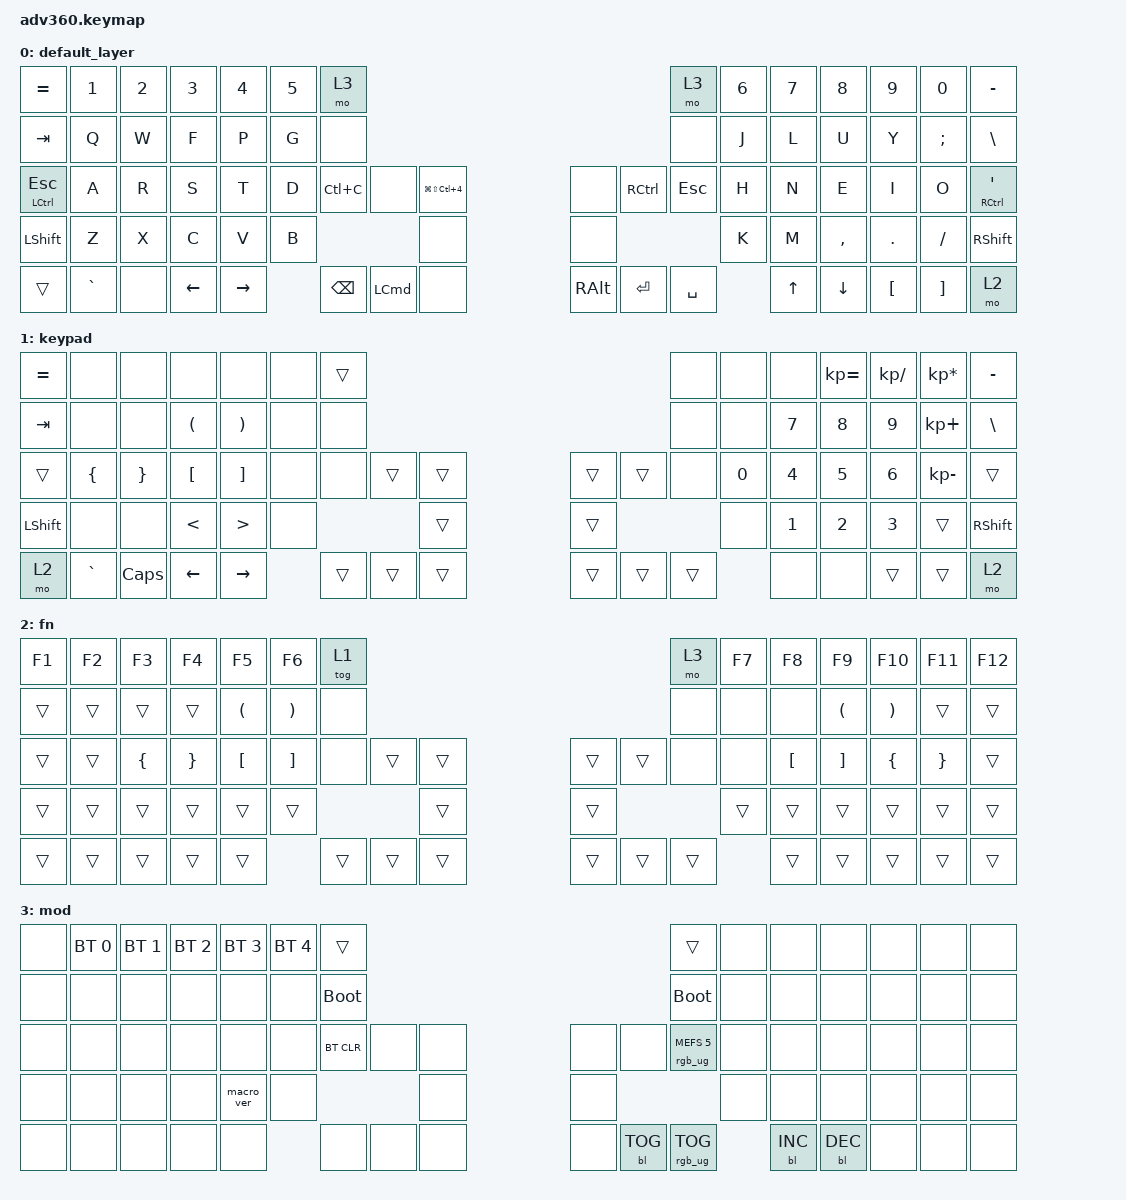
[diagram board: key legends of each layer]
#include <behaviors.dtsi>
#include <dt-bindings/zmk/backlight.h>
#include <dt-bindings/zmk/bt.h>
#include <dt-bindings/zmk/keys.h>
#include <dt-bindings/zmk/rgb.h>

/ {
    behaviors {
        #include "macros.dtsi"
      #include "version.dtsi"
      #ifndef VERSION_MACRO

        macro_ver: macro_ver {
            compatible = "zmk,behavior-macro";
            label = "macro_version";
            #binding-cells = <0>;
            bindings = <&kp RET>;
        };

        #endif

        hm: homerow_mods {
            compatible = "zmk,behavior-hold-tap";
            label = "HOMEROW_MODS";
            #binding-cells = <2>;
            tapping-term-ms = <200>;
            quick_tap_ms = <175>;
            flavor = "tap-preferred";
            bindings = <&kp>, <&kp>;
        };
    };

    macros {
    };

    keymap {
        compatible = "zmk,keymap";

        default_layer {
            bindings = <
&kp EQUAL                &kp N1     &kp N2  &kp N3    &kp N4     &kp N5  &mo 3                                                                                            &mo 3       &kp N6  &kp N7  &kp N8     &kp N9    &kp N0         &kp MINUS
&kp TAB                  &kp Q      &kp W   &kp F     &kp P      &kp G   &none                                                                                            &none       &kp J   &kp L   &kp U      &kp Y     &kp SEMICOLON  &kp BSLH
&mt LEFT_CONTROL ESCAPE  &kp A      &kp R   &kp S     &kp T      &kp D   &kp LC(C)      &none             &kp LG(LS(LC(NUMBER_4)))      &none          &kp RIGHT_CONTROL  &kp ESCAPE  &kp H   &kp N   &kp E      &kp I     &kp O          &mt RIGHT_CONTROL SQT
&kp LEFT_SHIFT           &kp Z      &kp X   &kp C     &kp V      &kp B                                    &none                         &none                                         &kp K   &kp M   &kp COMMA  &kp DOT   &kp FSLH       &kp RIGHT_SHIFT
&trans                   &kp GRAVE  &none   &kp LEFT  &kp RIGHT          &kp BACKSPACE  &kp LEFT_COMMAND  &none                         &kp RIGHT_ALT  &kp ENTER          &kp SPACE           &kp UP  &kp DOWN   &kp LBKT  &kp RBKT       &mo 2
            >;
        };

        keypad {
            bindings = <
&kp EQUAL  &none           &none            &none                 &none                  &none  &trans                                      &none   &none   &none   &kp KP_EQUAL  &kp KP_DIVIDE  &kp KP_MULTIPLY  &kp MINUS
&kp TAB    &none           &none            &kp LEFT_PARENTHESIS  &kp RIGHT_PARENTHESIS  &none  &none                                       &none   &none   &kp N7  &kp N8        &kp N9         &kp KP_PLUS      &kp BSLH
&trans     &kp LEFT_BRACE  &kp RIGHT_BRACE  &kp LEFT_BRACKET      &kp RIGHT_BRACKET      &none  &none   &trans  &trans      &trans  &trans  &none   &kp N0  &kp N4  &kp N5        &kp N6         &kp KP_MINUS     &trans
&kp LSHFT  &none           &none            &kp LESS_THAN         &kp GREATER_THAN       &none                  &trans      &trans                  &none   &kp N1  &kp N2        &kp N3         &trans           &kp RSHFT
&mo 2      &kp GRAVE       &kp CAPS         &kp LEFT              &kp RIGHT                     &trans  &trans  &trans      &trans  &trans  &trans          &none   &none         &trans         &trans           &mo 2
            >;
        };

        fn {
            bindings = <
&kp F1  &kp F2  &kp F3          &kp F4           &kp F5                &kp F6                 &tog 1                                      &mo 3   &kp F7  &kp F8            &kp F9                &kp F10                &kp F11   &kp F12
&trans  &trans  &trans          &trans           &kp LEFT_PARENTHESIS  &kp RIGHT_PARENTHESIS  &none                                       &none   &none   &none             &kp LEFT_PARENTHESIS  &kp RIGHT_PARENTHESIS  &trans    &trans
&trans  &trans  &kp LEFT_BRACE  &kp RIGHT_BRACE  &kp LEFT_BRACKET      &kp RIGHT_BRACKET      &none   &trans  &trans      &trans  &trans  &none   &none   &kp LEFT_BRACKET  &kp RIGHT_BRACKET     &kp LEFT_BRACE         &kp RBRC  &trans
&trans  &trans  &trans          &trans           &trans                &trans                                 &trans      &trans                  &trans  &trans            &trans                &trans                 &trans    &trans
&trans  &trans  &trans          &trans           &trans                                       &trans  &trans  &trans      &trans  &trans  &trans          &trans            &trans                &trans                 &trans    &trans
            >;
        };

        mod {
            bindings = <
&none  &bt BT_SEL 0  &bt BT_SEL 1  &bt BT_SEL 2  &bt BT_SEL 3  &bt BT_SEL 4  &trans                                            &trans                  &none  &none       &none       &none  &none  &none
&none  &none         &none         &none         &none         &none         &bootloader                                       &bootloader             &none  &none       &none       &none  &none  &none
&none  &none         &none         &none         &none         &none         &bt BT_CLR   &none  &none      &none  &none       &rgb_ug RGB_MEFS_CMD 5  &none  &none       &none       &none  &none  &none
&none  &none         &none         &none         &macro_ver    &none                             &none      &none                                      &none  &none       &none       &none  &none  &none
&none  &none         &none         &none         &none                       &none        &none  &none      &none  &bl BL_TOG  &rgb_ug RGB_TOG                &bl BL_INC  &bl BL_DEC  &none  &none  &none
            >;
        };
    };
};
